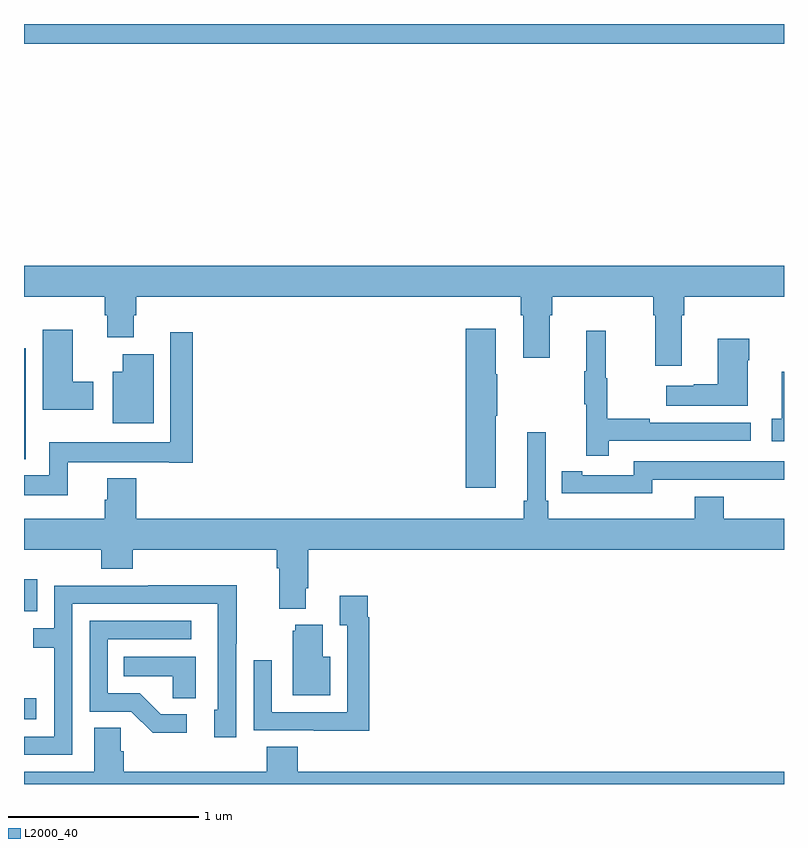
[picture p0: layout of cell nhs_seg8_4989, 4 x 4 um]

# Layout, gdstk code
import gdstk
lib = gdstk.Library(unit=1e-6, precision=1e-09)
def R(c, l, rs):  # rectangles x0, y0, x1, y1
    for r in rs: c.add(gdstk.rectangle(r[:2], r[2:], *l))
def P(c, l, *ps):  # polygons
    for p in ps: c.add(gdstk.Polygon(p, *l))
L2000_40 = (2000, 40)

nhs_seg8_4989 = lib.new_cell('nhs_seg8_4989')
R(nhs_seg8_4989, L2000_40, [(411,1150.241,411.064,1150.351), (411,1150.809,411.069,1150.978), (411,1151.609,411.009,1152.193), (411,1153.796,415,1153.9)])
P(nhs_seg8_4989, L2000_40, [(414.463,1152.368),(414.476,1152.368),(414.476,1152.464),(415,1152.464),(415,1152.628),(411,1152.628),(411,1152.464),(411.425,1152.464),(411.425,1152.366),(411.437,1152.366),(411.437,1152.252),(411.577,1152.252),(411.577,1152.366),(411.59,1152.366),(411.59,1152.464),(413.615,1152.464),(413.615,1152.368),(413.627,1152.368),(413.627,1152.144),(413.767,1152.144),(413.767,1152.368),(413.78,1152.368),(413.78,1152.464),(414.311,1152.464),(414.311,1152.368),(414.323,1152.368),(414.323,1152.102),(414.463,1152.102)],
  [(413.482,1151.839),(413.49,1151.839),(413.49,1152.056),(413.482,1152.056),(413.482,1152.295),(413.324,1152.295),(413.324,1151.46),(413.482,1151.46)],
  [(411.364,1152.018),(411.256,1152.018),(411.256,1152.292),(411.098,1152.292),(411.098,1151.87),(411.364,1151.87)],
  [(414.077,1151.706),(414.826,1151.706),(414.826,1151.802),(414.293,1151.802),(414.293,1151.822),(414.07,1151.822),(414.07,1152.036),(414.062,1152.036),(414.062,1152.286),(413.96,1152.286),(413.96,1152.073),(413.949,1152.073),(413.949,1151.899),(413.96,1151.899),(413.96,1151.628),(414.077,1151.628)],
  [(411.23,1151.594),(411.764,1151.594),(411.764,1151.592),(411.887,1151.592),(411.887,1152.277),(411.771,1152.277),(411.771,1151.698),(411.132,1151.698),(411.132,1151.524),(411,1151.524),(411,1151.42),(411.23,1151.42)],
  [(414.808,1152.131),(414.816,1152.131),(414.816,1152.244),(414.65,1152.244),(414.65,1152.005),(414.524,1152.005),(414.524,1151.995),(414.381,1151.995),(414.381,1151.891),(414.808,1151.891)],
  [(411.682,1152.163),(411.521,1152.163),(411.521,1152.07),(411.467,1152.07),(411.467,1151.798),(411.682,1151.798)],
  [(415,1152.07),(414.989,1152.07),(414.989,1151.823),(414.936,1151.823),(414.936,1151.703),(415,1151.703)],
  [(412.483,1150.93),(412.496,1150.93),(412.496,1151.132),(415,1151.132),(415,1151.296),(414.683,1151.296),(414.683,1151.413),(414.53,1151.413),(414.53,1151.296),(413.759,1151.296),(413.759,1151.392),(413.745,1151.392),(413.745,1151.752),(413.648,1151.752),(413.648,1151.392),(413.629,1151.392),(413.629,1151.296),(411.59,1151.296),(411.59,1151.509),(411.437,1151.509),(411.437,1151.397),(411.425,1151.397),(411.425,1151.296),(411,1151.296),(411,1151.132),(411.407,1151.132),(411.407,1151.033),(411.572,1151.033),(411.572,1151.132),(412.331,1151.132),(412.331,1151.036),(412.343,1151.036),(412.343,1150.823),(412.483,1150.823)],
  [(414.306,1151.502),(414.766,1151.502),(414.766,1151.501),(415,1151.501),(415,1151.598),(414.21,1151.598),(414.21,1151.526),(413.938,1151.526),(413.938,1151.546),(413.83,1151.546),(413.83,1151.43),(413.938,1151.43),(413.938,1151.429),(414.306,1151.429)],
  [(411.255,1150.848),(412.02,1150.848),(412.02,1150.29),(412.001,1150.29),(412.001,1150.146),(412.116,1150.146),(412.116,1150.639),(412.119,1150.639),(412.119,1150.946),(411.655,1150.946),(411.655,1150.944),(411.159,1150.944),(411.159,1150.719),(411.049,1150.719),(411.049,1150.618),(411.159,1150.618),(411.159,1150.149),(411,1150.149),(411,1150.053),(411.255,1150.053)],
  [(412.817,1150.778),(412.81,1150.778),(412.81,1150.891),(412.661,1150.891),(412.661,1150.735),(412.701,1150.735),(412.701,1150.278),(412.305,1150.278),(412.305,1150.552),(412.209,1150.552),(412.209,1150.182),(412.525,1150.182),(412.525,1150.181),(412.817,1150.181)],
  [(411.856,1150.266),(411.721,1150.266),(411.61,1150.377),(411.441,1150.377),(411.441,1150.662),(411.88,1150.662),(411.88,1150.758),(411.345,1150.758),(411.345,1150.281),(411.564,1150.281),(411.677,1150.169),(411.856,1150.169)],
  [(412.612,1150.57),(412.573,1150.57),(412.573,1150.738),(412.427,1150.738),(412.427,1150.707),(412.415,1150.707),(412.415,1150.367),(412.612,1150.367)],
  [(411.904,1150.57),(411.526,1150.57),(411.526,1150.466),(411.783,1150.466),(411.783,1150.351),(411.904,1150.351)],
  [(415,1149.964),(412.442,1149.964),(412.442,1150.097),(412.277,1150.097),(412.277,1149.964),(411.524,1149.964),(411.524,1150.073),(411.51,1150.073),(411.51,1150.196),(411.371,1150.196),(411.371,1149.964),(411,1149.964),(411,1149.9),(415,1149.9)])

lib.write_gds('nhs_seg8_4989.gds')
